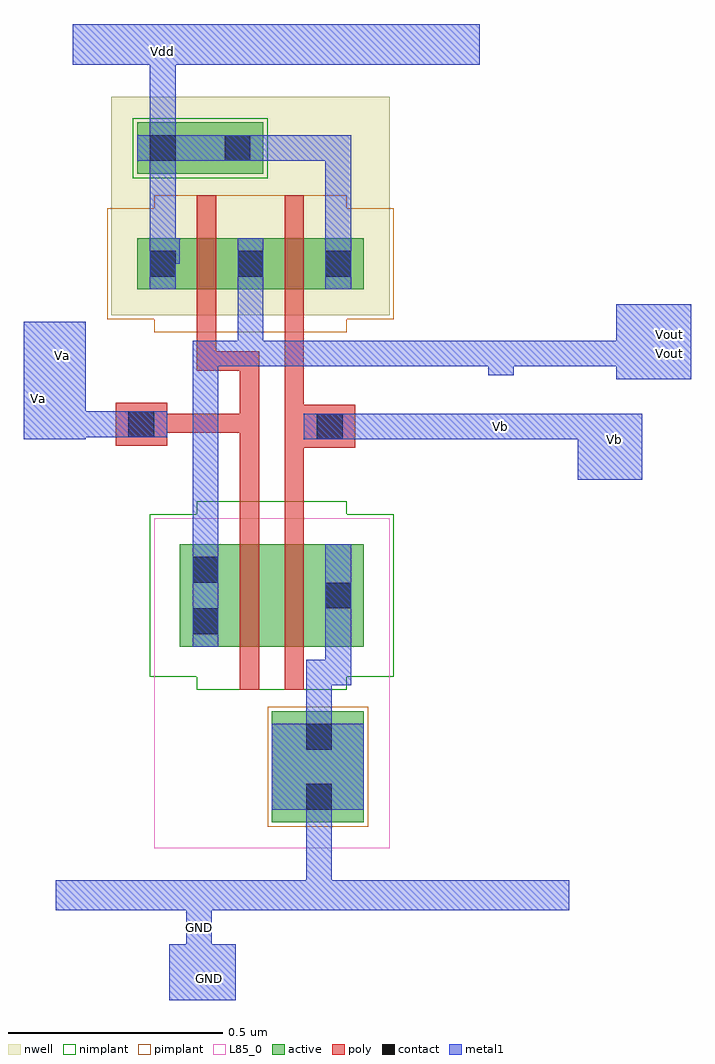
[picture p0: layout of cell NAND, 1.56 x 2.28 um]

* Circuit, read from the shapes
.subckt NAND GND Va Vb Vdd Vout
M1 n1 Va Vout GND nfet w=0.24u l=0.045u
M2 GND Vb n1 GND nfet w=0.24u l=0.045u
M3 Vout Va Vdd Vdd pfet w=0.12u l=0.045u
M4 Vdd Vb Vout Vdd pfet w=0.12u l=0.045u
.ends

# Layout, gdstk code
from math import pi, radians
import gdstk
lib = gdstk.Library(unit=1e-6, precision=5e-10)
def R(c, l, rs):  # rectangles x0, y0, x1, y1
    for r in rs: c.add(gdstk.rectangle(r[:2], r[2:], *l))
active = (1, 0)
nwell = (2, 0)
poly = (3, 0)
nimplant = (4, 0)
pimplant = (5, 0)
contact = (6, 0)
metal1 = (7, 0)
L85_0 = (85, 0)

pmos1v_cdns_758587431050 = lib.new_cell('pmos1v_CDNS_758587431050')
R(pmos1v_cdns_758587431050, active, [(-0.14,0,0,0.12), (0,0,0.045,0.12), (0.045,0,0.155,0.12), (-0.14,0.27,0.155,0.39)])
R(pmos1v_cdns_758587431050, nwell, [(-0.2,-0.06,0.215,0.45)])
R(pmos1v_cdns_758587431050, poly, [(0,-0.1,0.045,-0.05), (0,-0.05,0.045,0), (0,0,0.045,0.12), (0,0.12,0.045,0.17), (0,0.17,0.045,0.22)])
R(pmos1v_cdns_758587431050, nimplant, [(-0.15,0.26,0.165,0.4)])
R(pmos1v_cdns_758587431050, pimplant, [(-0.1,-0.1,0.145,0.22), (-0.21,-0.07,0.225,0.19)])
R(pmos1v_cdns_758587431050, contact, [(-0.11,0.03,-0.05,0.09), (0.095,0.03,0.155,0.09), (-0.11,0.3,-0.05,0.36), (0.065,0.3,0.125,0.36)])
R(pmos1v_cdns_758587431050, metal1, [(-0.11,0,-0.05,0.12), (0.095,0,0.155,0.12), (-0.14,0.3,0.155,0.36)])

nmos1v_cdns_758587431051 = lib.new_cell('nmos1v_CDNS_758587431051')
R(nmos1v_cdns_758587431051, active, [(-0.14,-0.41,0.075,-0.15), (-0.14,0,0,0.24), (0,0,0.045,0.24), (0.045,0,0.075,0.24)])
R(nmos1v_cdns_758587431051, poly, [(0,-0.1,0.045,-0.05), (0,-0.05,0.045,0), (0,0,0.045,0.24), (0,0.24,0.045,0.29), (0,0.29,0.045,0.34)])
R(nmos1v_cdns_758587431051, nimplant, [(-0.1,-0.1,0.145,0.34), (-0.21,-0.07,0.145,0.31)])
R(nmos1v_cdns_758587431051, pimplant, [(-0.15,-0.42,0.085,-0.14)])
R(nmos1v_cdns_758587431051, contact, [(-0.065,-0.38,-0.005,-0.32), (-0.065,-0.24,-0.005,-0.18), (-0.11,0.09,-0.05,0.15)])
R(nmos1v_cdns_758587431051, metal1, [(-0.14,-0.38,0.075,-0.18), (-0.11,0,-0.05,0.24)])
R(nmos1v_cdns_758587431051, L85_0, [(-0.2,-0.47,0.135,0.3)])

pmos1v_cdns_758587431052 = lib.new_cell('pmos1v_CDNS_758587431052')
R(pmos1v_cdns_758587431052, active, [(-0.14,0,0,0.12), (0,0,0.045,0.12), (0.045,0,0.095,0.12)])
R(pmos1v_cdns_758587431052, nwell, [(-0.2,-0.06,0.155,0.18)])
R(pmos1v_cdns_758587431052, poly, [(0,-0.1,0.045,-0.05), (0,-0.05,0.045,0), (0,0,0.045,0.12), (0,0.12,0.045,0.17), (0,0.17,0.045,0.22)])
R(pmos1v_cdns_758587431052, pimplant, [(-0.1,-0.1,0.145,0.22), (-0.21,-0.07,0.165,0.19)])
R(pmos1v_cdns_758587431052, contact, [(-0.11,0.03,-0.05,0.09)])
R(pmos1v_cdns_758587431052, metal1, [(-0.11,0,-0.05,0.12)])

nmos1v_cdns_758587431053 = lib.new_cell('nmos1v_CDNS_758587431053')
R(nmos1v_cdns_758587431053, active, [(-0.03,0,0,0.24), (0,0,0.045,0.24), (0.045,0,0.185,0.24)])
R(nmos1v_cdns_758587431053, poly, [(0,-0.1,0.045,-0.05), (0,-0.05,0.045,0), (0,0,0.045,0.24), (0,0.24,0.045,0.29), (0,0.29,0.045,0.34)])
R(nmos1v_cdns_758587431053, nimplant, [(-0.1,-0.1,0.145,0.34), (-0.1,-0.07,0.255,0.31)])
R(nmos1v_cdns_758587431053, contact, [(0.095,0.03,0.155,0.09), (0.095,0.15,0.155,0.21)])
R(nmos1v_cdns_758587431053, metal1, [(0.095,0,0.155,0.24)])
R(nmos1v_cdns_758587431053, L85_0, [(-0.09,-0.06,0.245,0.3)])

m1_po_cdns_758587431050 = lib.new_cell('M1_PO_CDNS_758587431050')
R(m1_po_cdns_758587431050, poly, [(-0.05,-0.06,0.05,0.06)])
R(m1_po_cdns_758587431050, contact, [(-0.03,-0.03,0.03,0.03)])
R(m1_po_cdns_758587431050, metal1, [(-0.03,-0.06,0.03,0.06)])

nand = lib.new_cell('NAND')
R(nand, nwell, [(0.635,-0.55,0.87,-0.28)])
R(nand, metal1, [(0.355,-2.39,0.51,-2.26), (0.09,-2.18,1.29,-2.11), (0.395,-2.175,0.455,-2.115), (1.31,-1.175,1.46,-1.02), (0.995,-1.08,1.055,-1.02), (0.015,-1.075,0.075,-1.015), (0.015,-0.95,0.16,-0.805), (1.4,-0.94,1.575,-0.765), (1.1,-0.91,1.16,-0.85), (0.13,-0.205,1.08,-0.11), (0.31,-0.205,0.37,-0.145)])
R(nand, L85_0, [(0.32,-2.035,0.535,-1.625)])
nand.add(gdstk.FlexPath([(1.16,-0.88),(1.4,-0.88)], 0.06, ends="flush", simple_path=True, layer=7, datatype=0))  # metal1
nand.add(gdstk.FlexPath([(0.425,-2.145),(0.425,-2.39)], 0.06, ends="flush", simple_path=True, layer=7, datatype=0))  # metal1
nand.add(gdstk.FlexPath([(1.025,-1.05),(1.31,-1.05)], 0.06, ends="flush", simple_path=True, layer=7, datatype=0))  # metal1
nand.add(gdstk.FlexPath([(0.0875,-1.0075),(0.075,-1.0075)], 0.145, ends=(0.0725, 0), simple_path=True, layer=7, datatype=0))  # metal1
nand.add(gdstk.FlexPath([(0.0875,-0.88),(0.0875,-1.0075)], 0.145, ends=(0, 0.0725), simple_path=True, layer=7, datatype=0))  # metal1
nand.add(gdstk.FlexPath([(0.045,-1.045),(0.29,-1.045)], 0.06, ends="flush", simple_path=True, layer=7, datatype=0))  # metal1
nand.add(gdstk.FlexPath([(0.995,-1.05),(0.73,-1.05)], 0.06, ends="flush", simple_path=True, layer=7, datatype=0))  # metal1
nand.add(gdstk.FlexPath([(0.575,-0.4),(0.75,-0.4)], 0.06, ends="flush", simple_path=True, layer=7, datatype=0))  # metal1
nand.add(gdstk.FlexPath([(0.75,-0.37),(0.75,-0.61)], 0.06, ends="flush", simple_path=True, layer=7, datatype=0))  # metal1
nand.add(gdstk.FlexPath([(0.34,-0.64),(0.38,-0.64)], 0.06, ends=(0.03, 0), simple_path=True, layer=7, datatype=0))  # metal1
nand.add(gdstk.FlexPath([(0.75,-1.535),(0.75,-1.625)], 0.06, ends=(0, 0.03), simple_path=True, layer=7, datatype=0))  # metal1
nand.add(gdstk.FlexPath([(0.705,-1.625),(0.705,-2.11)], 0.06, ends=(0.03, 0), simple_path=True, layer=7, datatype=0))  # metal1
nand.add(gdstk.FlexPath([(0.34,-0.205),(0.34,-0.64)], 0.06, ends=(0, 0.03), simple_path=True, layer=7, datatype=0))  # metal1
nand.add(gdstk.FlexPath([(0.41,-0.88),(0.545,-0.88)], 0.06, ends=(0, 0.03), simple_path=True, layer=7, datatype=0))  # metal1
nand.add(gdstk.FlexPath([(0.44,-1.325),(0.44,-0.88)], 0.06, ends="flush", simple_path=True, layer=7, datatype=0))  # metal1
nand.add(gdstk.FlexPath([(0.75,-1.625),(0.705,-1.625)], 0.06, ends="extended", simple_path=True, layer=7, datatype=0))  # metal1
nand.add(gdstk.FlexPath([(0.545,-0.88),(1.13,-0.88)], 0.06, ends=(0, 0.03), simple_path=True, layer=7, datatype=0))  # metal1
nand.add(gdstk.FlexPath([(1.13,-0.88),(1.13,-0.93)], 0.06, ends=(0.03, 0), simple_path=True, layer=7, datatype=0))  # metal1
nand.add(gdstk.FlexPath([(0.545,-0.7),(0.545,-0.88)], 0.06, ends=(0, 0.03), simple_path=True, layer=7, datatype=0))  # metal1
nand.add(gdstk.FlexPath([(0.5425,-1.225),(0.5425,-1.0425)], 0.045, ends=(0, 0.0225), simple_path=True, layer=3, datatype=0))  # poly
nand.add(gdstk.FlexPath([(0.29,-1.0425),(0.5425,-1.0425)], 0.045, ends=(0, 0.0225), simple_path=True, layer=3, datatype=0))  # poly
nand.add(gdstk.FlexPath([(0.5425,-0.8975),(0.4425,-0.8975)], 0.045, ends="extended", simple_path=True, layer=3, datatype=0))  # poly
nand.add(gdstk.FlexPath([(0.4425,-0.83),(0.4425,-0.8975)], 0.045, ends=(0, 0.0225), simple_path=True, layer=3, datatype=0))  # poly
nand.add(gdstk.FlexPath([(0.4425,-0.8975),(0.42,-0.8975)], 0.045, ends=(0.0225, 0), simple_path=True, layer=3, datatype=0))  # poly
nand.add(gdstk.FlexPath([(0.5425,-1.0425),(0.5425,-0.8975)], 0.045, ends="extended", simple_path=True, layer=3, datatype=0))  # poly
nand.add(gdstk.FlexPath([(0.6475,-1.225),(0.6475,-0.83)], 0.045, ends="flush", simple_path=True, layer=3, datatype=0))  # poly
nand.add(gdstk.Reference(pmos1v_cdns_758587431050, (0.42,-0.73)))
nand.add(gdstk.Reference(nmos1v_cdns_758587431051, (0.67,-1.565), rotation=pi, x_reflection=True))
nand.add(gdstk.Reference(pmos1v_cdns_758587431052, (0.67,-0.73), rotation=pi, x_reflection=True))
nand.add(gdstk.Reference(nmos1v_cdns_758587431053, (0.565,-1.565), rotation=pi, x_reflection=True))
nand.add(gdstk.Reference(m1_po_cdns_758587431050, (0.73,-1.05), rotation=pi/2))
nand.add(gdstk.Reference(m1_po_cdns_758587431050, (0.29,-1.045), rotation=pi/2))
nand.add(gdstk.Label('Vout', (1.525,-0.835), layer=7, texttype=3))
nand.add(gdstk.Label('GND', (0.45,-2.34), layer=7, texttype=3))
nand.add(gdstk.Label('Vb', (1.395,-1.08), layer=7, texttype=3))
nand.add(gdstk.Label('Va', (0.105,-0.885), layer=7, texttype=3))
nand.add(gdstk.Label('Vout', (1.525,-0.88), layer=7, texttype=3))
nand.add(gdstk.Label('GND', (0.425,-2.22), layer=7, texttype=3))
nand.add(gdstk.Label('Vdd', (0.34,-0.175), layer=7, texttype=3))
nand.add(gdstk.Label('Vb', (1.13,-1.05), layer=7, texttype=3))
nand.add(gdstk.Label('Va', (0.05,-0.985), layer=7, texttype=3))

lib.write_gds('NAND.gds')
